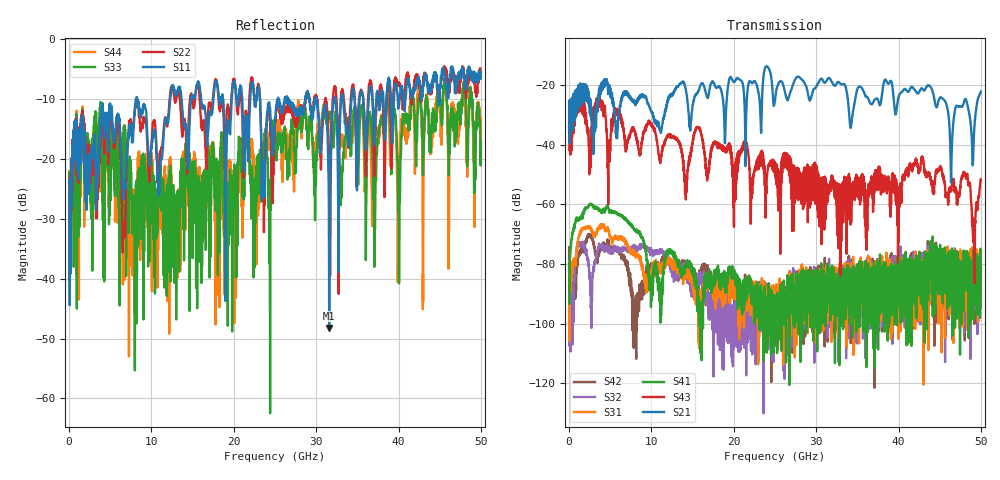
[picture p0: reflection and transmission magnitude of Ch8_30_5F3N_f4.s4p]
!Agilent Technologies,N5247A,US51170199,A.09.90.13
!Agilent N5247A: A.09.90.13
!Date: Wednesday, December 16, 2015 10:23:53
!Correction: S11(Full 4 Port(1,2,3,4))
!S12(Full 4 Port(1,2,3,4))
!S13(Full 4 Port(1,2,3,4))
!S14(Full 4 Port(1,2,3,4))
!S21(Full 4 Port(1,2,3,4))
!S22(Full 4 Port(1,2,3,4))
!S23(Full 4 Port(1,2,3,4))
!S24(Full 4 Port(1,2,3,4))
!S31(Full 4 Port(1,2,3,4))
!S32(Full 4 Port(1,2,3,4))
!S33(Full 4 Port(1,2,3,4))
!S34(Full 4 Port(1,2,3,4))
!S41(Full 4 Port(1,2,3,4))
!S42(Full 4 Port(1,2,3,4))
!S43(Full 4 Port(1,2,3,4))
!S44(Full 4 Port(1,2,3,4))
!S4P File: Measurements: <S11,S12,S13,S14>,
!<S21,S22,S23,S24>,
!<S31,S32,S33,S34>,
!<S41,S42,S43,S44>:
# Hz S  dB  R 50
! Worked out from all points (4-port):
!   3201 points, 10 MHz to 50 GHz, reference 50 ohm
!   strongest paths, dB at 10 MHz, 12.51 GHz, 25 GHz, 37.5 GHz, 50 GHz:
!     S21: -34.5, -23.5, -25.3, -24.9, -22.3
!     S43: -34.6, -37.2, -46.5, -48.3, -51.7
!     S41: -79.8, -76.7, -92.4, -80.8, -81.2
!     S31: -89.5, -79.3, -105.5, -86.5, -83.1
!     S32: -79.1, -82.5, -107.2, -95.0, -88.9
!     S42: -74.4, -81.8, -107.3, -87.4, -84.9
!   lowest |S11| = -48.2 dB at 31.58 GHz (marker M1), VSWR 1.01, Z = 50.4 + j0.0854 ohm
!   |S11| at or under -10 dB: start of sweep to 8.215 GHz; 8.249 GHz to 12.28 GHz (4.026 GHz wide, 39.2 % of centre); 23.17 GHz to 25.36 GHz (2.19 GHz wide, 9.02 % of centre)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
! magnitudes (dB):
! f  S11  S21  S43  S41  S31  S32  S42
! 10 MHz  -23.7  -34.5  -34.6  -79.8  -89.5  -79.1  -74.4
! 2.65 GHz  -20.7  -30.2  -38.2  -60.0  -68.0  -94.5  -70.7
! 20.13 GHz  -7.7  -18.9  -50.1  -85.1  -84.3  -100.4  -94.0
! 31.58 GHz  -48.2  -17.7  -55.0  -86.9  -82.2  -90.1  -90.0
! 46.41 GHz  -5.1  -49.0  -55.5  -86.2  -86.6  -81.4  -76.5
! 49.14 GHz  -6.9  -37.8  -72.4  -80.2  -80.6  -87.9  -91.4
! 50 GHz  -5.7  -22.3  -51.7  -81.2  -83.1  -88.9  -84.9
